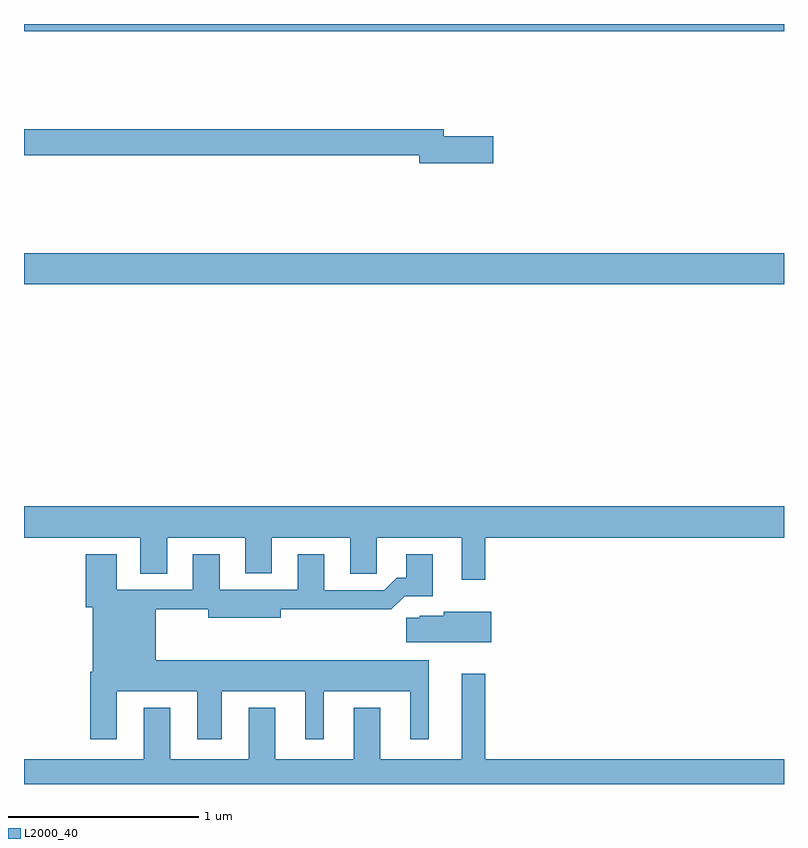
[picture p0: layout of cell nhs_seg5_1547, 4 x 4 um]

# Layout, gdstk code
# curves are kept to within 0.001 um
import gdstk
lib = gdstk.Library(unit=1e-6, precision=1e-09)
def R(c, l, rs):  # rectangles x0, y0, x1, y1
    for r in rs: c.add(gdstk.rectangle(r[:2], r[2:], *l))
def P(c, l, *ps):  # polygons
    for p in ps: c.add(gdstk.Polygon(p, *l))
L2000_40 = (2000, 40)

nhs_seg5_1547 = lib.new_cell('nhs_seg5_1547')
R(nhs_seg5_1547, L2000_40, [(205,855.428,209,855.592), (205,856.76,209,856.799)])
P(nhs_seg5_1547, L2000_40, [(207.469,856.208),(207.208,856.208),(207.208,856.244),(205,856.244),(205,856.108),(207.08,856.108),(207.08,856.066),(207.469,856.066)],
  [(207.427,854.096),(209,854.096),(209,854.26),(205,854.26),(205,854.096),(205.613,854.096),(205.613,853.906),(205.753,853.906),(205.753,854.096),(206.165,854.096),(206.165,853.907),(206.305,853.907),(206.305,854.096),(206.717,854.096),(206.717,853.906),(206.856,853.906),(206.856,854.096),(207.305,854.096),(207.305,853.875),(207.427,853.875)],
  [(205.489,853.286),(205.913,853.286),(205.913,853.035),(206.041,853.035),(206.041,853.286),(206.48,853.286),(206.48,853.035),(206.578,853.035),(206.578,853.286),(207.032,853.286),(207.032,853.035),(207.13,853.035),(207.13,853.45),(205.693,853.45),(205.693,853.72),(205.97,853.72),(205.97,853.673),(206.35,853.673),(206.35,853.72),(206.677,853.72),(206.677,853.718),(206.933,853.718),(207.003,853.788),(207.151,853.788),(207.151,854.008),(207.011,854.008),(207.011,853.885),(206.962,853.885),(206.895,853.818),(206.581,853.818),(206.581,854.008),(206.441,854.008),(206.441,853.821),(206.029,853.822),(206.029,854.008),(205.889,854.008),(205.889,853.821),(205.489,853.821),(205.489,854.008),(205.325,854.008),(205.325,853.728),(205.361,853.728),(205.361,853.39),(205.349,853.39),(205.349,853.035),(205.489,853.035)],
  [(207.46,853.705),(207.21,853.705),(207.21,853.684),(207.084,853.684),(207.084,853.673),(207.012,853.673),(207.012,853.544),(207.46,853.544)],
  [(209,852.928),(207.427,852.928),(207.427,853.378),(207.305,853.378),(207.305,852.928),(206.875,852.928),(206.875,853.201),(206.735,853.201),(206.735,852.928),(206.323,852.928),(206.323,853.201),(206.183,853.201),(206.183,852.928),(205.771,852.928),(205.771,853.201),(205.631,853.201),(205.631,852.928),(205,852.928),(205,852.799),(209,852.799)])

lib.write_gds('nhs_seg5_1547.gds')
